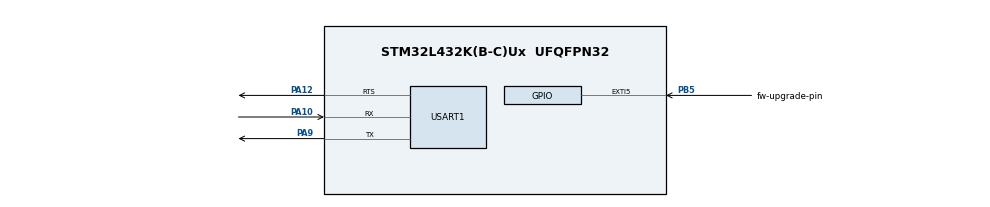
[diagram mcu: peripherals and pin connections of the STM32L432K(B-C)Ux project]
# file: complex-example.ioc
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Mcu.Family=STM32L4
Mcu.Name=STM32L432K(B-C)Ux
Mcu.Package=UFQFPN32
NVIC.EXTI9_5_IRQn=true\:0\:0\:true\:false\:true\:true\:true\:true
NVIC.PriorityGroup=NVIC_PRIORITYGROUP_4
PA10.Mode=Asynchronous
PA10.Signal=USART1_RX
PA12.Mode=RTS_Only
PA12.Signal=USART1_RTS
PA9.Mode=Asynchronous
PA9.Signal=USART1_TX
PB5.GPIO_Label=fw-upgrade-pin
PB5.Signal=GPXTI5
ProjectManager.HeapSize=0x200
ProjectManager.StackSize=0x400
ProjectManager.TargetToolchain=STM32CubeIDE
RCC.HSE_VALUE=8000000
RCC.HSI48_VALUE=48000000
RCC.HSI_VALUE=16000000
RCC.MSI_VALUE=4000000
RCC.VCOOutputFreq_Value=32000000
USART1.VirtualMode-Asynchronous=VM_ASYNC
board=custom

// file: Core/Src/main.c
/* USER CODE BEGIN Header */
/**
  ******************************************************************************
  * @file           : main.c
  * @brief          : Main program body
  ******************************************************************************
  * @attention
  *
  * Copyright (c) 2023 STMicroelectronics.
  * All rights reserved.
  *
  * This software is licensed under terms that can be found in the LICENSE file
  * in the root directory of this software component.
  * If no LICENSE file comes with this software, it is provided AS-IS.
  *
  ******************************************************************************
  */
/* USER CODE END Header */
#include "main.h"

/* USER CODE BEGIN PD */
static char buf[128];
/* USER CODE END PD */

UART_HandleTypeDef huart1;

void SystemClock_Config(void);
static void MX_GPIO_Init(void);
static void MX_USART1_UART_Init(void);
static void calculator(float a, float b);
static float add(float a, float b);
static float sub(float a, float b);
static float mul(float a, float b);
static float divide(float a, float b);
static void delay();
static uint8_t fw_upgrade = 0;

int main(void)
{

  /* MCU Configuration--------------------------------------------------------*/

  /* Reset of all peripherals, Initializes the Flash interface and the Systick. */
  HAL_Init();

  /* Configure the system clock */
  SystemClock_Config();

  /* Initialize all configured peripherals */
  MX_GPIO_Init();
  MX_USART1_UART_Init();

  /* Infinite loop */
  /* USER CODE BEGIN WHILE */
  while (1)
  {
	  //check for fw_upgrade
	  if(fw_upgrade)
	  {
		  // jump to bootloader();
	  }
	  calculator(1.1, 2.2);
	  delay();
    /* USER CODE END WHILE */

  }
}

void SystemClock_Config(void)
{
  RCC_OscInitTypeDef RCC_OscInitStruct = {0};
  RCC_ClkInitTypeDef RCC_ClkInitStruct = {0};

  /** Configure the main internal regulator output voltage
  */
  if (HAL_PWREx_ControlVoltageScaling(PWR_REGULATOR_VOLTAGE_SCALE1) != HAL_OK)
  {
    Error_Handler();
  }

  /** Initializes the RCC Oscillators according to the specified parameters
  * in the RCC_OscInitTypeDef structure.
  */
  RCC_OscInitStruct.OscillatorType = RCC_OSCILLATORTYPE_MSI;
  RCC_OscInitStruct.MSIState = RCC_MSI_ON;
  RCC_OscInitStruct.MSICalibrationValue = 0;
  RCC_OscInitStruct.MSIClockRange = RCC_MSIRANGE_6;
  RCC_OscInitStruct.PLL.PLLState = RCC_PLL_NONE;
  if (HAL_RCC_OscConfig(&RCC_OscInitStruct) != HAL_OK)
  {
    Error_Handler();
  }

  /** Initializes the CPU, AHB and APB buses clocks
  */
  RCC_ClkInitStruct.ClockType = RCC_CLOCKTYPE_HCLK|RCC_CLOCKTYPE_SYSCLK
                              |RCC_CLOCKTYPE_PCLK1|RCC_CLOCKTYPE_PCLK2;
  RCC_ClkInitStruct.SYSCLKSource = RCC_SYSCLKSOURCE_MSI;
  RCC_ClkInitStruct.AHBCLKDivider = RCC_SYSCLK_DIV1;
  RCC_ClkInitStruct.APB1CLKDivider = RCC_HCLK_DIV1;
  RCC_ClkInitStruct.APB2CLKDivider = RCC_HCLK_DIV1;

  if (HAL_RCC_ClockConfig(&RCC_ClkInitStruct, FLASH_LATENCY_0) != HAL_OK)
  {
    Error_Handler();
  }
}

static void MX_USART1_UART_Init(void)
{

  huart1.Instance = USART1;
  huart1.Init.BaudRate = 115200;
  huart1.Init.WordLength = UART_WORDLENGTH_8B;
  huart1.Init.StopBits = UART_STOPBITS_1;
  huart1.Init.Parity = UART_PARITY_NONE;
  huart1.Init.Mode = UART_MODE_TX_RX;
  huart1.Init.HwFlowCtl = UART_HWCONTROL_RTS;
  huart1.Init.OverSampling = UART_OVERSAMPLING_16;
  huart1.Init.OneBitSampling = UART_ONE_BIT_SAMPLE_DISABLE;
  huart1.AdvancedInit.AdvFeatureInit = UART_ADVFEATURE_NO_INIT;
  if (HAL_UART_Init(&huart1) != HAL_OK)
  {
    Error_Handler();
  }

}

static void MX_GPIO_Init(void)
{
  GPIO_InitTypeDef GPIO_InitStruct = {0};

  /* GPIO Ports Clock Enable */
  __HAL_RCC_GPIOA_CLK_ENABLE();
  __HAL_RCC_GPIOB_CLK_ENABLE();

  /*Configure GPIO pin : fw_upgrade_pin_Pin */
  GPIO_InitStruct.Pin = fw_upgrade_pin_Pin;
  GPIO_InitStruct.Mode = GPIO_MODE_IT_RISING;
  GPIO_InitStruct.Pull = GPIO_NOPULL;
  HAL_GPIO_Init(fw_upgrade_pin_GPIO_Port, &GPIO_InitStruct);

  /* EXTI interrupt init*/
  HAL_NVIC_SetPriority(EXTI9_5_IRQn, 0, 0);
  HAL_NVIC_EnableIRQ(EXTI9_5_IRQn);

}

/* USER CODE BEGIN 4 */

static void calculator(float a, float b)
{
	float ans = 0;
	sprintf(buf, "%f + %f = %f\n", a,b, add(a,b));
	HAL_UART_Transmit(&huart1, buf, strlen(buf), 100);
	HAL_GPIO_WritePin(LED_PORT, LED_PIN, GPIO_PIN_SET);
	for(uint32_t i =0; i< 300000; i++);
	sprintf(buf, "%f - %f = %f\n", a,b, sub(a,b));
	HAL_UART_Transmit(&huart1, buf, strlen(buf), 100);
	HAL_GPIO_WritePin(LED_PORT, LED_PIN, GPIO_PIN_RESET);
	delay();
	sprintf(buf, "%f * %f = %f\n", a,b, mul(a,b));
	HAL_UART_Transmit(&huart1, buf, strlen(buf), 100);
	HAL_GPIO_WritePin(LED_PORT, LED_PIN, GPIO_PIN_SET);
	delay();
	sprintf(buf, "%f / %f = %f\n", a,b, divide(a,b));
	HAL_UART_Transmit(&huart1, buf, strlen(buf), 100);
	HAL_GPIO_WritePin(LED_PORT, LED_PIN, GPIO_PIN_RESET);
	delay();
}
static float add(float a, float b)
{
	SLOP_R;
	return a+b;
}
static float sub(float a, float b)
{
	SLOP_R;
	return a-b;
}
static float mul(float a, float b)
{
	SLOP_R;
	return a * a;
}
static float divide(float a, float b)
{
	//SLOP;
	return a*b;
}
static void delay()
{
	for(uint32_t i =0; i< 300000; i++);
}
void HAL_GPIO_EXTI_Callback(uint16_t GPIO_Pin)
{
	fw_upgrade = 1;
}
/* USER CODE END 4 */

void Error_Handler(void)
{
  __disable_irq();
  while (1)
  {
  }
}
